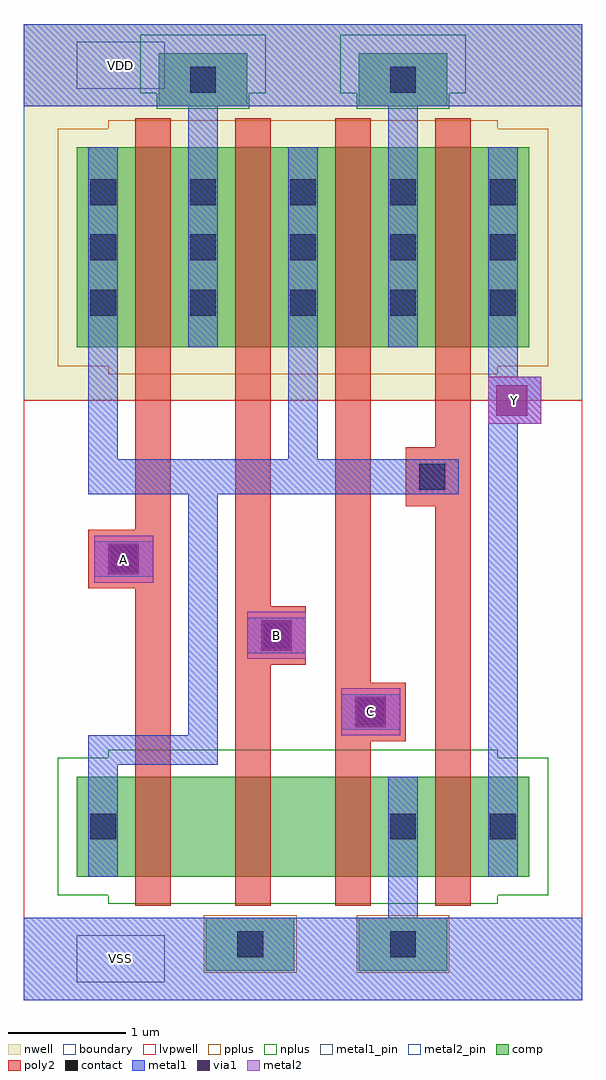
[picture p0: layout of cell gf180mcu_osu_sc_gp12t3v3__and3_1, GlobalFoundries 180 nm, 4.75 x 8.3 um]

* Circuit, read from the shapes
.subckt gf180mcu_osu_sc_gp12t3v3__and3_1 A B C VDD VSS Y
XM1 n1 A n2 VSS nfet_03v3 w=0.85u l=0.3u
XM2 n3 B n1 VSS nfet_03v3 w=0.85u l=0.3u
XM3 VSS C n3 VSS nfet_03v3 w=0.85u l=0.3u
XM4 Y n2 VSS VSS nfet_03v3 w=0.85u l=0.3u
XM5 VDD A n2 VDD pfet_03v3 w=1.7u l=0.3u
XM6 n2 B VDD VDD pfet_03v3 w=1.7u l=0.3u
XM7 VDD C n2 VDD pfet_03v3 w=1.7u l=0.3u
XM8 Y n2 VDD VDD pfet_03v3 w=1.7u l=0.3u
.ends

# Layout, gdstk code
import gdstk
lib = gdstk.Library(unit=1e-6, precision=1e-09)
def R(c, l, rs):  # rectangles x0, y0, x1, y1
    for r in rs: c.add(gdstk.rectangle(r[:2], r[2:], *l))
def A(c, l, x, y, w, h, nx, ny, dx, dy):  # array of equal rectangles
    R(c, l, [(x+i*dx, y+j*dy, x+i*dx+w, y+j*dy+h) for i in range(nx) for j in range(ny)])
boundary = (0, 0)
nwell = (21, 0)
comp = (22, 0)
poly2 = (30, 0)
pplus = (31, 0)
nplus = (32, 0)
contact = (33, 0)
metal1 = (34, 0)
metal1_pin = (34, 10)
via1 = (35, 0)
metal2 = (36, 0)
metal2_pin = (36, 10)
lvpwell = (204, 0)

gf180mcu_osu_sc_gp12t3v3 = lib.new_cell('gf180mcu_osu_sc_gp12t3v3__and3_1')
R(gf180mcu_osu_sc_gp12t3v3, boundary, [(0,0,4.75,8.3)])
R(gf180mcu_osu_sc_gp12t3v3, nwell, [(0,5.1,4.75,8.3)])
R(gf180mcu_osu_sc_gp12t3v3, comp, [(1.55,0.25,2.3,0.7), (2.85,0.25,3.6,0.7), (0.45,1.05,4.3,1.9), (0.45,5.55,4.3,7.25), (1.15,7.6,1.9,8.05), (2.85,7.6,3.6,8.05)])
R(gf180mcu_osu_sc_gp12t3v3, poly2, [(0.95,0.8,1.25,3.5), (1.8,0.8,2.1,2.85), (2.65,0.8,2.95,2.2), (3.5,0.8,3.8,4.2), (2.65,2.2,3.25,2.7), (2.65,2.7,2.95,7.5), (1.8,2.85,2.4,3.35), (1.8,3.35,2.1,7.5), (0.55,3.5,1.25,4), (0.95,4,1.25,7.5), (3.25,4.2,3.8,4.7), (3.5,4.7,3.8,7.5)])
R(gf180mcu_osu_sc_gp12t3v3, pplus, [(1.53,0.23,2.32,0.72), (2.83,0.23,3.62,0.72), (0.72,5.32,4.03,5.39), (0.29,5.39,4.46,7.41), (0.72,7.41,4.03,7.48)])
R(gf180mcu_osu_sc_gp12t3v3, nplus, [(0.72,0.82,4.03,0.89), (0.29,0.89,4.46,2.06), (0.72,2.06,4.03,2.13), (1.13,7.58,1.92,7.71), (2.83,7.58,3.62,7.71), (0.99,7.71,2.06,8.21), (2.69,7.71,3.76,8.21)])
A(gf180mcu_osu_sc_gp12t3v3, contact, 0.565, 5.82, 0.22, 0.22, 5, 3, 0.85, 0.47)
R(gf180mcu_osu_sc_gp12t3v3, contact, [(1.815,0.365,2.035,0.585), (3.115,0.365,3.335,0.585), (0.565,1.365,0.785,1.585), (3.115,1.365,3.335,1.585), (3.965,1.365,4.185,1.585), (2.84,2.34,3.06,2.56), (2.04,2.99,2.26,3.21), (0.74,3.64,0.96,3.86), (3.365,4.34,3.585,4.56), (1.415,7.715,1.635,7.935), (3.115,7.715,3.335,7.935)])
R(gf180mcu_osu_sc_gp12t3v3, metal1, [(0,0,4.75,0.7), (3.1,0.7,3.35,1.9), (0.55,1.05,0.8,2), (3.95,1.05,4.2,4.9), (0.55,2,1.65,2.25), (1.4,2.25,1.65,4.3), (2.7,2.3,3.2,2.6), (1.9,2.95,2.4,3.25), (0.6,3.6,1.1,3.9), (0.55,4.3,3.7,4.6), (0.55,4.6,0.8,7.25), (2.25,4.6,2.5,7.25), (3.95,4.9,4.4,5.3), (3.95,5.3,4.2,7.25), (1.4,5.55,1.65,7.6), (3.1,5.55,3.35,7.6), (0,7.6,4.75,8.3)])
R(gf180mcu_osu_sc_gp12t3v3, metal1_pin, [(0.45,0.15,1.2,0.55), (0.45,7.75,1.2,8.15)])
R(gf180mcu_osu_sc_gp12t3v3, via1, [(2.82,2.32,3.08,2.58), (2.02,2.97,2.28,3.23), (0.72,3.62,0.98,3.88), (4.02,4.97,4.28,5.23)])
R(gf180mcu_osu_sc_gp12t3v3, metal2, [(2.7,2.25,3.2,2.65), (1.9,2.9,2.4,3.3), (0.6,3.55,1.1,3.95), (3.95,4.9,4.4,5.3)])
R(gf180mcu_osu_sc_gp12t3v3, metal2_pin, [(2.7,2.25,3.2,2.65), (1.9,2.9,2.4,3.3), (0.6,3.55,1.1,3.95), (3.95,4.9,4.4,5.3)])
R(gf180mcu_osu_sc_gp12t3v3, lvpwell, [(0,0,4.75,5.1)])
gf180mcu_osu_sc_gp12t3v3.add(gdstk.Label('A', (0.85,3.75), layer=36, texttype=10))
gf180mcu_osu_sc_gp12t3v3.add(gdstk.Label('B', (2.15,3.1), layer=36, texttype=10))
gf180mcu_osu_sc_gp12t3v3.add(gdstk.Label('Y', (4.175,5.1), layer=36, texttype=10))
gf180mcu_osu_sc_gp12t3v3.add(gdstk.Label('C', (2.95,2.45), layer=36, texttype=10))
gf180mcu_osu_sc_gp12t3v3.add(gdstk.Label('VDD', (0.825,7.95), layer=34, texttype=10))
gf180mcu_osu_sc_gp12t3v3.add(gdstk.Label('VSS', (0.825,0.35), layer=34, texttype=10))

lib.write_gds('gf180mcu_osu_sc_gp12t3v3__and3_1.gds')
